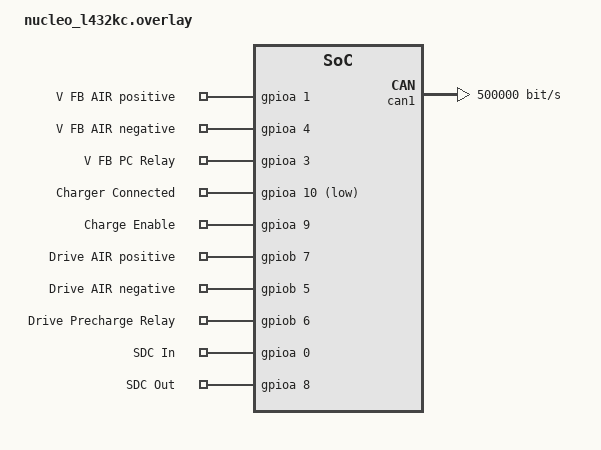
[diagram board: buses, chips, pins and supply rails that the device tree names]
/{
    bms_gpios: bms_gpios {
        compatible = "gpio-keys";
        
        vfb_air_pos: vfb_air_pos {
            gpios = <&gpioa 1 GPIO_ACTIVE_HIGH>;   /* PA1, V_FB_AIR_positive */
            label  = "V FB AIR positive";
        };
        vfb_air_neg: vfb_air_neg {
            gpios = <&gpioa 4 GPIO_ACTIVE_HIGH>;   /* PA4, V_FB_AIR_negative */
            label  = "V FB AIR negative";
        };
        vfb_pc_relay: vfb_pc_relay {
            gpios = <&gpioa 3 GPIO_ACTIVE_HIGH>;   /* PA3, V_FB_PC_Relay */
            label  = "V FB PC Relay";
        };
        charger_con: charger_con {
            gpios = <&gpioa 10 GPIO_ACTIVE_LOW>;   /* PA10, Charger_Con (active low) */
            label  = "Charger Connected";
        };
        charge_en: charge_en {
            gpios = <&gpioa 9 GPIO_ACTIVE_HIGH>;   /* PB0, Charge_EN */
            label  = "Charge Enable";
        };
        drive_air_pos: drive_air_pos {
            gpios = <&gpiob 7 GPIO_ACTIVE_HIGH>;   /* PB4, Drive AIR positive */
            label  = "Drive AIR positive";
        };
        drive_air_neg: drive_air_neg {
            gpios = <&gpiob 5 GPIO_ACTIVE_HIGH>;   /* PB5, Drive AIR negative */
            label  = "Drive AIR negative";
        };
        drive_precharge: drive_precharge {
            gpios = <&gpiob 6 GPIO_ACTIVE_HIGH>;   /* PB6, Drive Precharge Relay */
            label  = "Drive Precharge Relay";
        };
        sdc_in: sdc_in {
            gpios = <&gpioa 0 GPIO_ACTIVE_HIGH>;   /* PA0, SDC In */
            label  = "SDC In";
        };
        sdc_out: sdc_out {
            gpios = <&gpioa 8 GPIO_ACTIVE_HIGH>;   /* PA8, SDC Out */
            label  = "SDC Out";
        };
    };

    aliases {
        vfbairpositive  = &vfb_air_pos;
        vfbairnegative  = &vfb_air_neg;
        vfbpcrelay      = &vfb_pc_relay;
        chargerconnect    = &charger_con;
        chargeenable    = &charge_en;
        driveairpositive = &drive_air_pos;
        driveairnegative = &drive_air_neg;
        driveprecharge    = &drive_precharge;
        sdcin = &sdc_in;
        sdcout = &sdc_out;
    };
};


&can1 {
    status       = "okay";
    bitrate      = <500000>;
};
